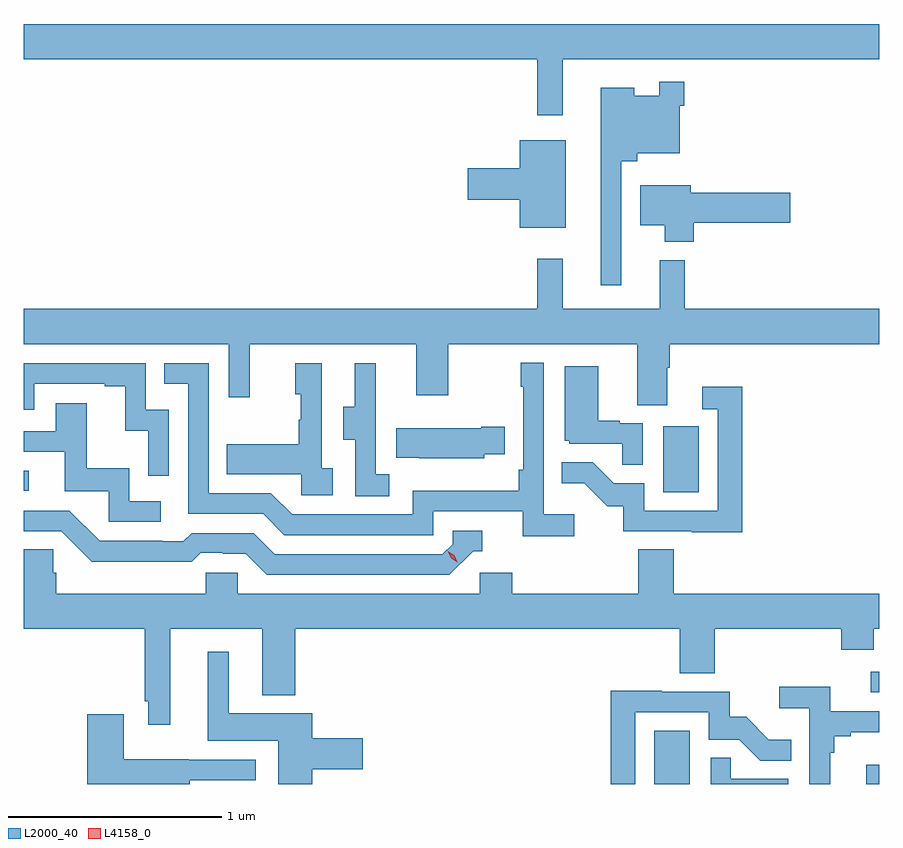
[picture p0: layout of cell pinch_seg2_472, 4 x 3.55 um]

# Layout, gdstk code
import gdstk
lib = gdstk.Library(unit=1e-6, precision=1e-09)
def R(c, l, rs):  # rectangles x0, y0, x1, y1
    for r in rs: c.add(gdstk.rectangle(r[:2], r[2:], *l))
def P(c, l, *ps):  # polygons
    for p in ps: c.add(gdstk.Polygon(p, *l))
L2000_40 = (2000, 40)
L4158_0 = (4158, 0)

pinch_seg2_472 = lib.new_cell('pinch_seg2_472')
R(pinch_seg2_472, L2000_40, [(952.088,590.967,952.252,591.217), (953.079,590.967,953.139,591.058), (953.099,591.396,953.139,591.492), (952.13,592.332,952.294,592.639), (949.139,592.338,949.162,592.431)])
P(pinch_seg2_472, L2000_40, [(951.658,594.356),(953.139,594.356),(953.139,594.52),(949.139,594.52),(949.139,594.356),(951.541,594.356),(951.541,594.093),(951.658,594.093)],
  [(951.933,593.879),(952.007,593.879),(952.007,593.915),(952.206,593.915),(952.206,594.137),(952.226,594.137),(952.226,594.25),(952.11,594.25),(952.11,594.184),(951.994,594.184),(951.994,594.223),(951.836,594.223),(951.836,593.298),(951.933,593.298)],
  [(951.673,593.977),(951.458,593.977),(951.458,593.846),(951.216,593.846),(951.216,593.699),(951.458,593.699),(951.458,593.567),(951.673,593.567)],
  [(952.271,593.59),(952.723,593.59),(952.723,593.732),(952.258,593.732),(952.258,593.767),(952.022,593.767),(952.022,593.579),(952.136,593.579),(952.136,593.501),(952.271,593.501)],
  [(952.147,592.912),(952.16,592.912),(952.16,593.024),(953.139,593.024),(953.139,593.188),(952.229,593.188),(952.229,593.416),(952.112,593.416),(952.112,593.188),(951.659,593.188),(951.659,593.422),(951.541,593.422),(951.541,593.188),(949.139,593.188),(949.139,593.024),(950.097,593.024),(950.097,592.776),(950.195,592.776),(950.195,593.024),(950.975,593.024),(950.975,592.785),(951.123,592.785),(951.123,593.024),(952.007,593.024),(952.007,592.738),(952.147,592.738)],
  [(951.712,592.228),(951.57,592.228),(951.57,592.936),(951.462,592.936),(951.462,592.823),(951.474,592.823),(951.474,592.435),(951.454,592.435),(951.454,592.339),(950.958,592.339),(950.958,592.227),(950.394,592.227),(950.295,592.326),(950.004,592.326),(950.004,592.935),(949.795,592.935),(949.795,592.839),(949.908,592.839),(949.908,592.23),(950.258,592.23),(950.357,592.131),(951.054,592.131),(951.054,592.242),(951.473,592.242),(951.473,592.126),(951.712,592.126)],
  [(949.818,592.716),(949.71,592.716),(949.71,592.935),(949.139,592.935),(949.139,592.716),(949.188,592.716),(949.188,592.839),(949.517,592.839),(949.517,592.827),(949.613,592.827),(949.613,592.619),(949.722,592.619),(949.722,592.407),(949.818,592.407)],
  [(950.584,592.442),(950.532,592.442),(950.532,592.933),(950.408,592.933),(950.408,592.788),(950.434,592.788),(950.434,592.67),(950.424,592.67),(950.424,592.555),(950.089,592.555),(950.089,592.415),(950.436,592.415),(950.436,592.317),(950.584,592.317)],
  [(950.848,592.415),(950.784,592.415),(950.784,592.719),(950.786,592.719),(950.786,592.933),(950.687,592.933),(950.687,592.731),(950.633,592.731),(950.633,592.576),(950.688,592.576),(950.688,592.312),(950.848,592.312)],
  [(952.032,592.653),(951.926,592.653),(951.926,592.666),(951.826,592.666),(951.826,592.921),(951.668,592.921),(951.668,592.572),(951.69,592.572),(951.69,592.557),(951.937,592.557),(951.937,592.459),(952.032,592.459)],
  [(952.499,592.825),(952.311,592.825),(952.311,592.719),(952.383,592.719),(952.383,592.245),(952.041,592.245),(952.041,592.374),(951.897,592.374),(951.799,592.472),(951.655,592.472),(951.655,592.373),(951.759,592.373),(951.866,592.266),(951.943,592.266),(951.943,592.149),(952.261,592.149),(952.261,592.144),(952.499,592.144)],
  [(949.78,592.29),(949.632,592.29),(949.632,592.444),(949.433,592.444),(949.433,592.747),(949.289,592.747),(949.289,592.617),(949.139,592.617),(949.139,592.521),(949.331,592.521),(949.331,592.335),(949.536,592.335),(949.536,592.194),(949.78,592.194)],
  [(951.291,592.508),(951.389,592.508),(951.389,592.638),(951.278,592.638),(951.278,592.63),(950.881,592.63),(950.881,592.493),(950.989,592.493),(950.989,592.49),(951.291,592.49)],
  [(951.24,592.056),(951.283,592.056),(951.283,592.152),(951.144,592.152),(951.144,592.089),(951.096,592.041),(950.313,592.041),(950.214,592.14),(949.925,592.14),(949.886,592.101),(949.787,592.101),(949.787,592.104),(949.494,592.104),(949.353,592.245),(949.139,592.245),(949.139,592.149),(949.314,592.149),(949.456,592.007),(949.692,592.007),(949.692,592.005),(949.925,592.005),(949.967,592.047),(950.07,592.047),(950.07,592.044),(950.177,592.044),(950.276,591.945),(951.129,591.945)],
  [(949.825,591.692),(950.255,591.692),(950.255,591.383),(950.408,591.383),(950.408,591.692),(952.205,591.692),(952.205,591.484),(952.37,591.484),(952.37,591.692),(952.961,591.692),(952.961,591.594),(953.112,591.594),(953.112,591.692),(953.139,591.692),(953.139,591.856),(952.178,591.856),(952.178,592.064),(952.013,592.064),(952.013,591.856),(951.422,591.856),(951.422,591.954),(951.27,591.954),(951.27,591.856),(950.139,591.856),(950.139,591.954),(949.989,591.954),(949.989,591.856),(949.292,591.856),(949.292,591.954),(949.277,591.954),(949.277,592.064),(949.14,592.064),(949.14,591.856),(949.139,591.856),(949.139,591.692),(949.704,591.692),(949.704,591.355),(949.721,591.355),(949.721,591.243),(949.825,591.243)],
  [(950.489,591.035),(950.725,591.035),(950.725,591.182),(950.489,591.182),(950.489,591.298),(950.098,591.298),(950.098,591.586),(950,591.586),(950,591.17),(950.33,591.17),(950.33,590.967),(950.489,590.967)],
  [(952.909,591.113),(952.928,591.113),(952.928,591.19),(953.005,591.19),(953.005,591.209),(953.139,591.209),(953.139,591.306),(952.91,591.306),(952.91,591.422),(952.671,591.422),(952.671,591.32),(952.812,591.32),(952.812,590.967),(952.909,590.967)],
  [(951.999,591.303),(952.341,591.303),(952.341,591.174),(952.485,591.174),(952.583,591.076),(952.727,591.076),(952.727,591.175),(952.623,591.175),(952.516,591.282),(952.44,591.282),(952.44,591.399),(952.121,591.399),(952.121,591.404),(951.883,591.404),(951.883,590.967),(951.999,590.967)],
  [(949.915,590.985),(950.224,590.985),(950.224,591.081),(949.911,591.081),(949.911,591.082),(949.606,591.082),(949.606,591.292),(949.436,591.292),(949.436,590.967),(949.915,590.967)],
  [(952.714,590.991),(952.445,590.991),(952.445,591.089),(952.35,591.089),(952.35,590.967),(952.714,590.967)])
P(pinch_seg2_472, L4158_0, [(951.167,592.003),(951.137,592.023),(951.121,592.056),(951.121,592.056),(951.122,592.056),(951.152,592.036),(951.167,592.003),(951.167,592.003)])

lib.write_gds('pinch_seg2_472.gds')
